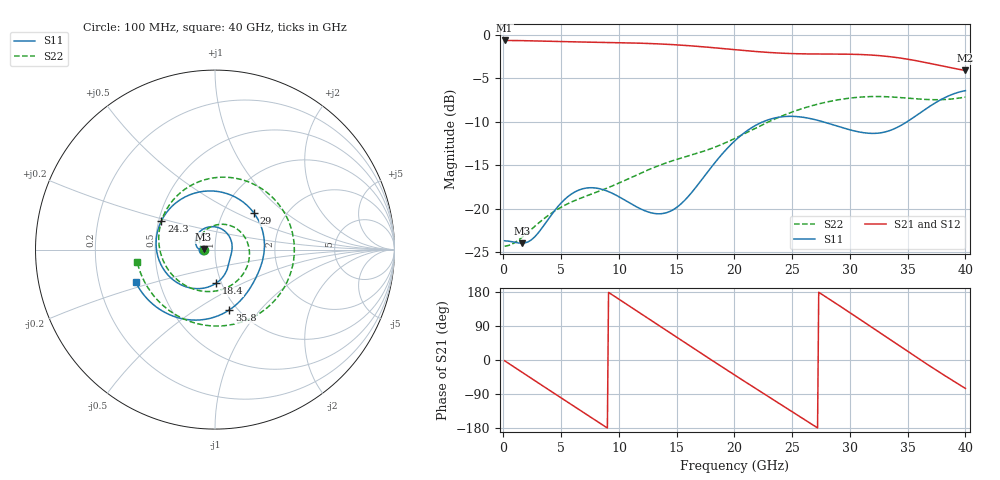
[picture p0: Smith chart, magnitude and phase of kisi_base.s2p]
! D_s8_cap_none: L1 (ref L2 GND) → L3 (ref L4 PWR), no capacitor
! stackup: 8-layer 1.6 mm FR-4 (generic)
! ports: 1, 2
! kisi-fdtd, conformal, dfine 0.035 mm, 886275 cells
# Hz S RI R 50
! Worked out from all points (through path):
!   400 points, 100 MHz to 40 GHz, reference 50 ohm
!   highest |S21| = -0.64 dB at 100 MHz (marker M1); lowest = -4.1 dB at 40 GHz (marker M2)
!   group delay of S21, straight-line fit = 55.2 ps
!   lowest |S11| = -24.0 dB at 1.6 GHz (marker M3), VSWR 1.14, Z = 44 + j0.118 ohm
!   |S11| at or under -10 dB: start of sweep to 22.47 GHz; 27.68 GHz to 34.94 GHz (7.262 GHz wide, 23.2 % of centre)
!   |S22| runs from -24.3 to -7.1 dB; largest |S21 - S12| = 0.0019
!   S11 on the Smith chart (normalised r, x): 100 MHz: 0.88, +0.00; 18.4 GHz: 0.94, -0.37; 24.3 GHz: 0.52, +0.19; 29 GHz: 1.40, +0.62; 35.8 GHz: 0.92, -0.70; 40 GHz: 0.37, -0.17
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1e8  -0.0654 0.000334  0.9286 -0.0326  0.9274 -0.0325  -0.0609 -1.37e-05
1.6e9  -0.0633 0.00134  0.7846 -0.4937  0.7846 -0.4926  -0.0683 0.00295
4.2e9  -0.093 0.00525  0.0937 -0.9134  0.0943 -0.9141  -0.0857 0.0402
5.5e9  -0.1086 0.0412  -0.3123 -0.8589  -0.3127 -0.8595  -0.0804 0.0695
6.8e9  -0.0924 0.0912  -0.6526 -0.6346  -0.6532 -0.6344  -0.0631 0.0971
8.4e9  -0.0254 0.1275  -0.8855 -0.1943  -0.8853 -0.1938  -0.0294 0.1235
9.9e9  0.0472 0.1083  -0.8608 0.2722  -0.8604 0.2721  0.0139 0.1388
1.18e10  0.0935 0.0364  -0.5065 0.7394  -0.5067 0.7391  0.0876 0.133
1.34e10  0.0914 -0.0197  -0.0355 0.8873  -0.0358 0.8874  0.1547 0.0851
1.47e10  0.0825 -0.0541  0.3549 0.8041  0.3549 0.8044  0.1891 0.0099
1.62e10  0.0718 -0.0983  0.6993 0.5102  0.6996 0.5102  0.1756 -0.1017
1.84e10  0.00641 -0.1871  0.8341 -0.1131  0.8339 -0.1133  0.028 -0.2255
2.01e10  -0.1222 -0.2161  0.6178 -0.5418  0.6176 -0.5416  -0.1433 -0.2108
2.22e10  -0.2959 -0.0939  0.1084 -0.7919  0.1087 -0.7918  -0.2963 -0.0416
2.43e10  -0.2981 0.1613  -0.425 -0.6587  -0.425 -0.6589  -0.2832 0.1981
2.67e10  -0.0353 0.3268  -0.7638 -0.1421  -0.764 -0.1419  -0.0718 0.3846
2.9e10  0.2182 0.202  -0.6355 0.4448  -0.6352 0.4449  0.2127 0.3661
3.13e10  0.2721 -0.0231  -0.113 0.7611  -0.1131 0.7606  0.4195 0.1343
3.34e10  0.2165 -0.179  0.4264 0.6173  0.426 0.6178  0.4024 -0.1784
3.58e10  0.0798 -0.3361  0.7049 0.0798  0.7058 0.0798  0.1026 -0.4159
3.8e10  -0.1915 -0.3832  0.5288 -0.3985  0.5281 -0.3996  -0.2522 -0.3414
4e10  -0.4423 -0.1809  0.1622 -0.6033  0.1611 -0.6017  -0.4331 -0.0718
